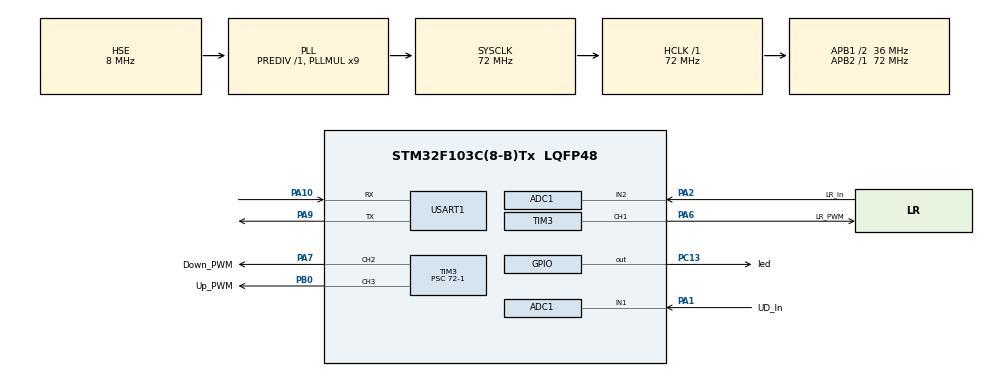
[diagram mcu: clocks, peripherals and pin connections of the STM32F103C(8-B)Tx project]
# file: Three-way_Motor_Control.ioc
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ADC1.Channel-0\#ChannelRegularConversion=ADC_CHANNEL_1
ADC1.Channel-1\#ChannelRegularConversion=ADC_CHANNEL_2
ADC1.ContinuousConvMode=ENABLE
ADC1.NbrOfConversion=2
ADC1.NbrOfConversionFlag=1
ADC1.Rank-0\#ChannelRegularConversion=1
ADC1.Rank-1\#ChannelRegularConversion=2
ADC1.SamplingTime-0\#ChannelRegularConversion=ADC_SAMPLETIME_239CYCLES_5
ADC1.SamplingTime-1\#ChannelRegularConversion=ADC_SAMPLETIME_239CYCLES_5
ADC1.master=1
Dma.ADC1.0.Direction=DMA_PERIPH_TO_MEMORY
Dma.ADC1.0.Instance=DMA1_Channel1
Dma.ADC1.0.MemDataAlignment=DMA_MDATAALIGN_HALFWORD
Dma.ADC1.0.MemInc=DMA_MINC_ENABLE
Dma.ADC1.0.Mode=DMA_CIRCULAR
Dma.ADC1.0.PeriphDataAlignment=DMA_PDATAALIGN_HALFWORD
Dma.ADC1.0.PeriphInc=DMA_PINC_DISABLE
Dma.ADC1.0.Priority=DMA_PRIORITY_LOW
Dma.Request0=ADC1
Mcu.Family=STM32F1
Mcu.Name=STM32F103C(8-B)Tx
Mcu.Package=LQFP48
NVIC.DMA1_Channel1_IRQn=true\:0\:0\:false\:false\:true\:false\:true\:true
NVIC.PriorityGroup=NVIC_PRIORITYGROUP_4
PA1.GPIO_Label=UD_In
PA1.Signal=ADCx_IN1
PA10.Mode=Asynchronous
PA10.Signal=USART1_RX
PA13.Mode=Serial_Wire
PA13.Signal=SYS_JTMS-SWDIO
PA14.Mode=Serial_Wire
PA14.Signal=SYS_JTCK-SWCLK
PA2.GPIO_Label=LR_In
PA2.Signal=ADCx_IN2
PA6.GPIO_Label=LR_PWM
PA6.GPIO_Speed=GPIO_SPEED_FREQ_HIGH
PA6.Signal=S_TIM3_CH1
PA7.GPIO_Label=Down_PWM
PA7.GPIO_Speed=GPIO_SPEED_FREQ_HIGH
PA7.Signal=S_TIM3_CH2
PA9.Mode=Asynchronous
PA9.Signal=USART1_TX
PB0.GPIO_Label=Up_PWM
PB0.GPIO_Speed=GPIO_SPEED_FREQ_HIGH
PB0.Signal=S_TIM3_CH3
PC13-TAMPER-RTC.GPIO_Label=led
PC13-TAMPER-RTC.GPIO_PuPd=GPIO_PULLUP
PC13-TAMPER-RTC.GPIO_Speed=GPIO_SPEED_FREQ_HIGH
PC13-TAMPER-RTC.PinState=GPIO_PIN_SET
PC13-TAMPER-RTC.Signal=GPIO_Output
PD0-OSC_IN.Mode=HSE-External-Oscillator
PD0-OSC_IN.Signal=RCC_OSC_IN
PD1-OSC_OUT.Mode=HSE-External-Oscillator
PD1-OSC_OUT.Signal=RCC_OSC_OUT
ProjectManager.HeapSize=0x200
ProjectManager.StackSize=0x400
ProjectManager.TargetToolchain=MDK-ARM V5.32
RCC.ADCPresc=RCC_ADCPCLK2_DIV6
RCC.AHBFreq_Value=72000000
RCC.APB1CLKDivider=RCC_HCLK_DIV2
RCC.APB1Freq_Value=36000000
RCC.APB1TimFreq_Value=72000000
RCC.APB2Freq_Value=72000000
RCC.APB2TimFreq_Value=72000000
RCC.HCLKFreq_Value=72000000
RCC.PLLMUL=RCC_PLL_MUL9
RCC.PLLSourceVirtual=RCC_PLLSOURCE_HSE
RCC.SYSCLKFreq_VALUE=72000000
RCC.SYSCLKSource=RCC_SYSCLKSOURCE_PLLCLK
RCC.USBFreq_Value=72000000
SH.ADCx_IN1.0=ADC1_IN1,IN1
SH.ADCx_IN2.0=ADC1_IN2,IN2
SH.S_TIM3_CH1.0=TIM3_CH1,PWM Generation1 CH1
SH.S_TIM3_CH2.0=TIM3_CH2,PWM Generation2 CH2
SH.S_TIM3_CH3.0=TIM3_CH3,PWM Generation3 CH3
TIM3.AutoReloadPreload=TIM_AUTORELOAD_PRELOAD_ENABLE
TIM3.Channel-PWM\ Generation1\ CH1=TIM_CHANNEL_1
TIM3.Channel-PWM\ Generation2\ CH2=TIM_CHANNEL_2
TIM3.Channel-PWM\ Generation3\ CH3=TIM_CHANNEL_3
TIM3.Period=20000-1
TIM3.Prescaler=72-1
USART1.VirtualMode=VM_ASYNC
VP_TIM3_VS_ClockSourceINT.Mode=Internal
board=custom

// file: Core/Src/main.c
/* USER CODE BEGIN Header */
/**
  ******************************************************************************
  * @file           : main.c
  * @brief          : Main program body
  ******************************************************************************
  * @attention
  *
  * Copyright (c) 2024 STMicroelectronics.
  * All rights reserved.
  *
  * This software is licensed under terms that can be found in the LICENSE file
  * in the root directory of this software component.
  * If no LICENSE file comes with this software, it is provided AS-IS.
  *
  ******************************************************************************
  */
  /* USER CODE END Header */
  /* Includes ------------------------------------------------------------------*/
#include "main.h"
#include "adc.h"
#include "dma.h"
#include "tim.h"
#include "usart.h"
#include "gpio.h"

/* USER CODE BEGIN Includes */
#include <stdio.h>
#include <string.h>
#include "adcin.h"
#include "adc_pwm.h"
/* USER CODE END Includes */

void SystemClock_Config(void);

int main(void)
{

    /* MCU Configuration--------------------------------------------------------*/

    /* Reset of all peripherals, Initializes the Flash interface and the Systick. */
    HAL_Init();

    /* Configure the system clock */
    SystemClock_Config();

    /* Initialize all configured peripherals */
    MX_GPIO_Init();
    MX_DMA_Init();
    MX_ADC1_Init();
    MX_USART1_UART_Init();
    MX_TIM3_Init();
    /* USER CODE BEGIN 2 */
    ADC1In_Init();
    HAL_Delay(100);//等待ADC采集

    HAL_TIM_PWM_Start(&htim3, TIM_CHANNEL_1);
    HAL_TIM_PWM_Start(&htim3, TIM_CHANNEL_2);
    HAL_TIM_PWM_Start(&htim3, TIM_CHANNEL_3);

    //1100-1940us\
    50Hz    20ms    20000us
    TIM3->CCR1 = 1100;
    TIM3->CCR2 = 1100;
    TIM3->CCR3 = 1100;
    /* USER CODE END 2 */

    /* Infinite loop */
    while (1)
    {

        /* USER CODE BEGIN 3 */

        HAL_GPIO_TogglePin(led_GPIO_Port, led_Pin);
        HAL_Delay(10);

        GetADCValue();

        ADC_PWM();

        char str[100];
        sprintf(str, "%d,%d,%d\r\n", TIM3->CCR3,TIM3->CCR2,TIM3->CCR1);
        HAL_UART_Transmit(&huart1, (uint8_t*)str, strlen(str), 1000);
    }
    /* USER CODE END 3 */
}

void SystemClock_Config(void)
{
    RCC_OscInitTypeDef RCC_OscInitStruct = { 0 };
    RCC_ClkInitTypeDef RCC_ClkInitStruct = { 0 };
    RCC_PeriphCLKInitTypeDef PeriphClkInit = { 0 };

    /** Initializes the RCC Oscillators according to the specified parameters
    * in the RCC_OscInitTypeDef structure.
    */
    RCC_OscInitStruct.OscillatorType = RCC_OSCILLATORTYPE_HSE;
    RCC_OscInitStruct.HSEState = RCC_HSE_ON;
    RCC_OscInitStruct.HSEPredivValue = RCC_HSE_PREDIV_DIV1;
    RCC_OscInitStruct.HSIState = RCC_HSI_ON;
    RCC_OscInitStruct.PLL.PLLState = RCC_PLL_ON;
    RCC_OscInitStruct.PLL.PLLSource = RCC_PLLSOURCE_HSE;
    RCC_OscInitStruct.PLL.PLLMUL = RCC_PLL_MUL9;
    if (HAL_RCC_OscConfig(&RCC_OscInitStruct) != HAL_OK)
    {
        Error_Handler();
    }

    /** Initializes the CPU, AHB and APB buses clocks
    */
    RCC_ClkInitStruct.ClockType = RCC_CLOCKTYPE_HCLK | RCC_CLOCKTYPE_SYSCLK
        | RCC_CLOCKTYPE_PCLK1 | RCC_CLOCKTYPE_PCLK2;
    RCC_ClkInitStruct.SYSCLKSource = RCC_SYSCLKSOURCE_PLLCLK;
    RCC_ClkInitStruct.AHBCLKDivider = RCC_SYSCLK_DIV1;
    RCC_ClkInitStruct.APB1CLKDivider = RCC_HCLK_DIV2;
    RCC_ClkInitStruct.APB2CLKDivider = RCC_HCLK_DIV1;

    if (HAL_RCC_ClockConfig(&RCC_ClkInitStruct, FLASH_LATENCY_2) != HAL_OK)
    {
        Error_Handler();
    }
    PeriphClkInit.PeriphClockSelection = RCC_PERIPHCLK_ADC;
    PeriphClkInit.AdcClockSelection = RCC_ADCPCLK2_DIV6;
    if (HAL_RCCEx_PeriphCLKConfig(&PeriphClkInit) != HAL_OK)
    {
        Error_Handler();
    }
}

void Error_Handler(void)
{
    __disable_irq();
    while (1)
    {
    }
}
